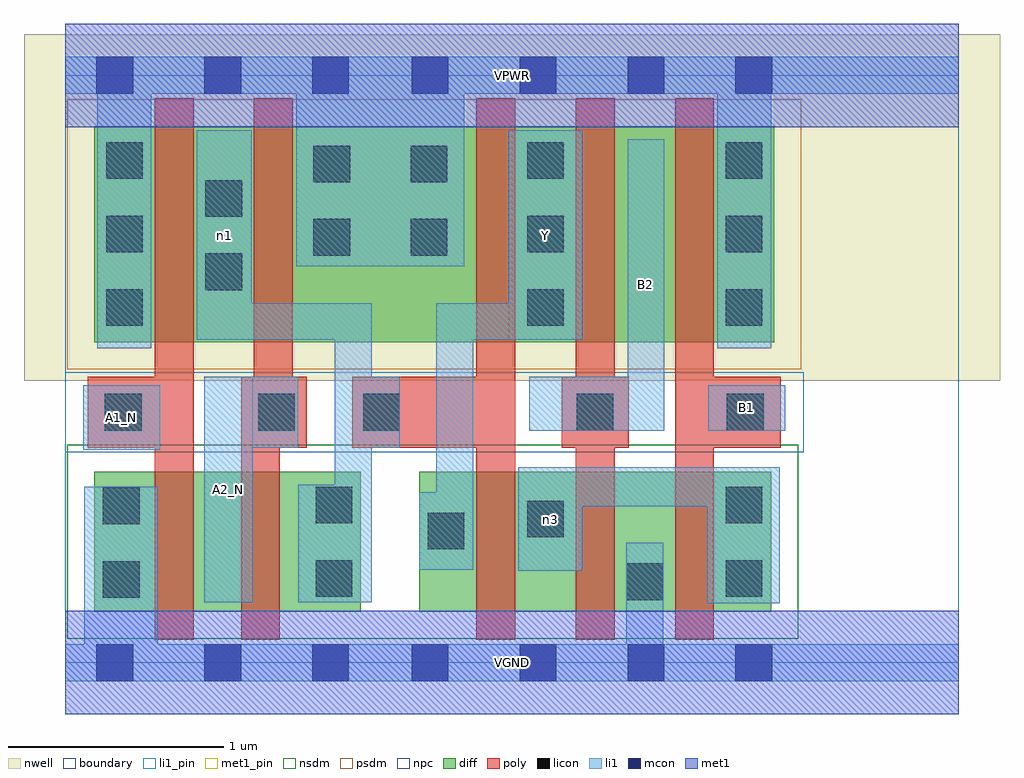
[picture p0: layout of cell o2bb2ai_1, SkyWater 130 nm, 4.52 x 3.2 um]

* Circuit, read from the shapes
.subckt o2bb2ai_1 A1_N A2_N B1 B2 VGND VPWR Y n1 n3
XM1 n2 A1_N VGND VSUBS sky130_fd_pr__nfet_01v8 w=0.65 l=0.18
XM2 n1 A2_N n2 VSUBS sky130_fd_pr__nfet_01v8 w=0.65 l=0.18
XM3 n3 n1 Y VSUBS sky130_fd_pr__nfet_01v8 w=0.65 l=0.18
XM4 VGND B2 n3 VSUBS sky130_fd_pr__nfet_01v8 w=0.65 l=0.18
XM5 n3 B1 VGND VSUBS sky130_fd_pr__nfet_01v8 w=0.65 l=0.18
XM6 n1 A1_N VPWR n4 sky130_fd_pr__pfet_01v8 w=1 l=0.18
XM7 VPWR A2_N n1 n4 sky130_fd_pr__pfet_01v8 w=1 l=0.18
XM8 Y n1 VPWR n4 sky130_fd_pr__pfet_01v8 w=1 l=0.18
XM9 n5 B2 Y n4 sky130_fd_pr__pfet_01v8 w=1 l=0.18
XM10 VPWR B1 n5 n4 sky130_fd_pr__pfet_01v8 w=1 l=0.18
.ends

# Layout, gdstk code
import gdstk
lib = gdstk.Library(unit=1e-6, precision=1e-09)
def R(c, l, rs):  # rectangles x0, y0, x1, y1
    for r in rs: c.add(gdstk.rectangle(r[:2], r[2:], *l))
def A(c, l, x, y, w, h, nx, ny, dx, dy):  # array of equal rectangles
    R(c, l, [(x+i*dx, y+j*dy, x+i*dx+w, y+j*dy+h) for i in range(nx) for j in range(ny)])
nwell = (64, 20)
diff = (65, 20)
poly = (66, 20)
licon = (66, 44)
li1_pin = (67, 16)
li1 = (67, 20)
mcon = (67, 44)
met1_pin = (68, 16)
met1 = (68, 20)
nsdm = (93, 44)
psdm = (94, 20)
npc = (95, 20)
boundary = (235, 4)

o2bb2ai_1 = lib.new_cell('o2bb2ai_1')
R(o2bb2ai_1, nwell, [(-0.19,1.305,4.33,2.91), (0,1.305,4.14,2.91)])
R(o2bb2ai_1, diff, [(0.135,0.235,1.37,0.885), (1.64,0.235,3.27,0.885), (0.135,1.485,3.285,2.485)])
A(o2bb2ai_1, poly, 1.905, 0.105, 0.18, 2.51, 3, 1, 0.46, 0)
R(o2bb2ai_1, poly, [(0.415,0.105,0.595,2.615), (0.815,0.105,0.995,1.325), (0.105,0.995,0.595,1.325), (0.815,0.995,1.12,1.325), (0.875,0.995,1.055,2.615), (1.33,0.995,2.085,1.325), (2.3,0.995,2.61,1.325), (2.825,0.995,3.315,1.325)])
A(o2bb2ai_1, licon, 0.19, 1.56, 0.17, 0.17, 1, 3, 0, 0.34)
A(o2bb2ai_1, licon, 2.14, 1.56, 0.17, 0.17, 1, 3, 0, 0.34)
A(o2bb2ai_1, licon, 3.06, 1.56, 0.17, 0.17, 1, 3, 0, 0.34)
R(o2bb2ai_1, licon, [(2.6,0.29,2.77,0.46), (0.175,0.3,0.345,0.47), (1.16,0.305,1.33,0.475), (3.06,0.305,3.23,0.475), (1.68,0.525,1.85,0.695), (2.14,0.58,2.31,0.75), (0.175,0.64,0.345,0.81), (1.16,0.645,1.33,0.815), (3.06,0.645,3.23,0.815), (0.185,1.075,0.355,1.245), (0.895,1.075,1.065,1.245), (1.38,1.075,1.55,1.245), (2.37,1.075,2.54,1.245), (3.065,1.075,3.235,1.245), (0.65,1.725,0.82,1.895), (1.15,1.885,1.32,2.055), (1.6,1.885,1.77,2.055), (0.65,2.065,0.82,2.235), (1.15,2.225,1.32,2.395), (1.6,2.225,1.77,2.395)])
R(o2bb2ai_1, li1_pin, [(0.645,0.28,0.87,1.325), (0.085,0.985,0.44,1.285), (2.605,1.075,2.775,2.425), (2.98,1.075,3.335,1.285), (2.055,1.495,2.395,2.465)])
R(o2bb2ai_1, li1, [(0,-0.085,4.14,0.085), (0.09,-0.085,0.43,0.815), (2.6,-0.085,2.77,0.555), (2.975,0.275,3.31,0.905), (0.645,0.28,0.87,1.325), (1.08,0.28,1.42,0.825), (1.25,0.28,1.42,1.665), (2.1,0.425,2.395,0.905), (1.64,0.43,1.89,0.79), (1.72,0.43,1.89,1.665), (2.1,0.725,3.31,0.905), (0.085,0.985,0.44,1.285), (0.645,0.995,1.08,1.325), (1.25,0.995,1.55,1.325), (2.15,1.075,2.775,1.325), (2.605,1.075,2.775,2.425), (2.98,1.075,3.335,1.285), (0.15,1.455,0.4,2.805), (3.02,1.455,3.27,2.805), (0.61,1.495,0.865,2.465), (0.61,1.495,1.42,1.665), (1.72,1.495,2.395,1.665), (2.055,1.495,2.395,2.465), (1.07,1.835,1.85,2.805), (0,2.635,4.14,2.805)])
A(o2bb2ai_1, mcon, 0.145, -0.085, 0.17, 0.17, 3, 2, 0.5, 2.72)
A(o2bb2ai_1, mcon, 1.605, -0.085, 0.17, 0.17, 4, 2, 0.5, 2.72)
R(o2bb2ai_1, met1_pin, [(0,-0.24,4.14,0.24), (0,2.48,4.14,2.96)])
R(o2bb2ai_1, met1, [(0,-0.24,4.14,0.24), (0,2.48,4.14,2.96)])
R(o2bb2ai_1, nsdm, [(0.01,0.11,3.395,1.01)])
R(o2bb2ai_1, psdm, [(0.01,1.36,3.41,2.61)])
R(o2bb2ai_1, npc, [(0,0.975,3.42,1.345)])
R(o2bb2ai_1, boundary, [(0,0,4.14,2.72)])
o2bb2ai_1.add(gdstk.Label('A1_N', (0.262,1.135), layer=67, texttype=5))
o2bb2ai_1.add(gdstk.Label('A2_N', (0.757,0.802), layer=67, texttype=5))
o2bb2ai_1.add(gdstk.Label('B1', (3.157,1.18), layer=67, texttype=5))
o2bb2ai_1.add(gdstk.Label('B2', (2.69,1.75), layer=67, texttype=5))
o2bb2ai_1.add(gdstk.Label('Y', (2.225,1.98), layer=67, texttype=5))
o2bb2ai_1.add(gdstk.Label('n3', (2.247,0.665), layer=67, texttype=5))
o2bb2ai_1.add(gdstk.Label('n1', (0.737,1.98), layer=67, texttype=5))
o2bb2ai_1.add(gdstk.Label('VPWR', (2.07,2.72), layer=68, texttype=5))
o2bb2ai_1.add(gdstk.Label('VGND', (2.07,0), layer=68, texttype=5))
o2bb2ai_1.add(gdstk.Label('A1_N', (0.262,1.135), layer=67, texttype=16))
o2bb2ai_1.add(gdstk.Label('A2_N', (0.757,0.802), layer=67, texttype=16))
o2bb2ai_1.add(gdstk.Label('B1', (3.157,1.18), layer=67, texttype=16))
o2bb2ai_1.add(gdstk.Label('B2', (2.69,1.75), layer=67, texttype=16))
o2bb2ai_1.add(gdstk.Label('Y', (2.225,1.98), layer=67, texttype=16))
o2bb2ai_1.add(gdstk.Label('VPWR', (2.07,2.72), layer=68, texttype=16))
o2bb2ai_1.add(gdstk.Label('VGND', (2.07,0), layer=68, texttype=16))

lib.write_gds('o2bb2ai_1.gds')
